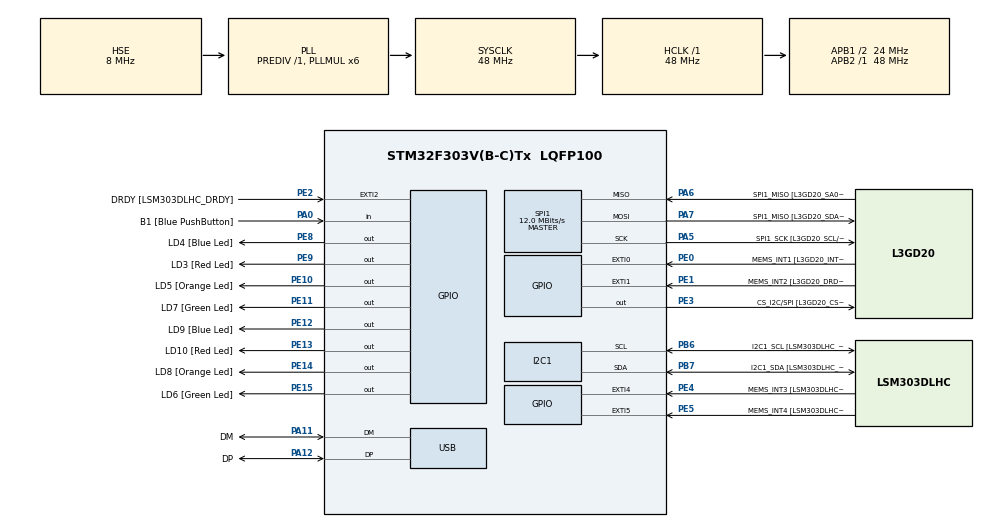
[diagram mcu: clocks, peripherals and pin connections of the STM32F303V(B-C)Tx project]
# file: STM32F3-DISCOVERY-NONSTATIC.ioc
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Mcu.Family=STM32F3
PA6.Mode=Full_Duplex_Master
RCC.CortexFreq_Value=48000000
SPI1.VirtualType=VM_MASTER
PE11.GPIO_Label=LD7 [Green Led]
PA14.GPIO_Label=SWCLK
RCC.SYSCLKSourceVirtual=RCC_SYSCLKSOURCE_PLLCLK
PA0.GPIO_Label=B1 [Blue PushButton]
PA11.Mode=Device
PA6.GPIO_Label=SPI1_MISO [L3GD20_SA0/SDO]
PB6.GPIO_Label=I2C1_SCL [LSM303DLHC_SCL]
PC15-OSC32_OUT.GPIO_Label=OSC32_OUT
ProjectManager.StackSize=0x400
SPI1.Mode-Full_Duplex_Master=SPI_MODE_MASTER
PA12.Signal=USB_DP
SPI1.Direction=SPI_DIRECTION_2LINES
RCC.HCLKFreq_Value=48000000
RCC.APB2TimFreq_Value=48000000
PB6.Signal=I2C1_SCL
PB6.Mode=I2C
SPI1.CalculateBaudRate=12.0 MBits/s
PE5.Signal=GPXTI5
PE1.Signal=GPXTI1
RCC.AHBFreq_Value=48000000
RCC.HSE_VALUE=8000000
PF0-OSC_IN.GPIO_Label=OSC_IN
RCC.PLLMUL=RCC_PLL_MUL6
PE13.Signal=GPIO_Output
PE9.Signal=GPIO_Output
PA14.Mode=Serial_Wire
FREERTOS.HEAP_NUMBER=1
PE4.GPIO_Label=MEMS_INT3 [LSM303DLHC_INT1]
PE2.Signal=GPXTI2
PB7.Signal=I2C1_SDA
VP_FREERTOS_VS_CMSIS_V1.Mode=CMSIS_V1
PE10.Signal=GPIO_Output
PE4.Signal=GPXTI4
SPI1.CalculateBaudRate-Full_Duplex_Master=24.0 MBits/s
PA0.Signal=GPIO_Input
PB7.GPIO_Label=I2C1_SDA [LSM303DLHC_SDA]
Mcu.Package=LQFP100
PA6.Signal=SPI1_MISO
PE12.GPIO_Label=LD9 [Blue Led]
PE0.GPIO_Label=MEMS_INT1 [L3GD20_INT1]
RCC.APB1TimFreq_Value=48000000
PC14-OSC32_IN.GPIO_Label=OSC32_IN
PE10.GPIO_Label=LD5 [Orange Led]
SPI1.BaudRatePrescaler=SPI_BAUDRATEPRESCALER_4
PE2.GPIO_Label=DRDY [LSM303DLHC_DRDY]
PF1-OSC_OUT.Signal=RCC_OSC_OUT
PA5.Mode=Full_Duplex_Master
PB3.GPIO_Label=SWO
FREERTOS.Tasks01=defaultTask,0,128,StartDefaultTask,Default,NULL,Dynamic,NULL,NULL;myTask02,-2,128,StartTask02,Default,NULL,Dynamic,NULL,NULL;myTask03,0,128,StartTask03,Default,NULL,Dynamic,NULL,NULL
PA7.Mode=Full_Duplex_Master
PE4.GPIO_ModeDefaultEXTI=GPIO_MODE_EVT_RISING
PA11.GPIO_Label=DM
PE14.GPIO_Label=LD8 [Orange Led]
PE1.GPIO_ModeDefaultEXTI=GPIO_MODE_EVT_RISING
RCC.APB1CLKDivider=RCC_HCLK_DIV2
PC14-OSC32_IN.Signal=RCC_OSC32_IN
PA12.GPIO_Label=DP
PA13.Signal=SYS_JTMS-SWDIO
PE15.GPIO_Label=LD6 [Green Led]
ProjectManager.TargetToolchain=EWARM V8
PE5.GPIO_ModeDefaultEXTI=GPIO_MODE_EVT_RISING
PE0.GPIO_ModeDefaultEXTI=GPIO_MODE_EVT_RISING
PE8.GPIO_Label=LD4 [Blue Led]
RCC.USBFreq_Value=48000000
PE11.Signal=GPIO_Output
RCC.LSE_VALUE=32768
PC15-OSC32_OUT.Signal=RCC_OSC32_OUT
PE9.GPIO_Label=LD3 [Red Led]
PF0-OSC_IN.Mode=HSE-External-Clock-Source
PA5.Signal=SPI1_SCK
board=STM32F3DISCOVERY
PE1.GPIO_Label=MEMS_INT2 [L3GD20_DRDY/INT2]
RCC.APB2Freq_Value=48000000
PE14.Signal=GPIO_Output
PE15.Signal=GPIO_Output
PE8.Signal=GPIO_Output
SPI1.Mode=SPI_MODE_MASTER
PF1-OSC_OUT.GPIO_Label=OSC_OUT
I2C1.Timing-I2C=0x2000090E
PA13.Mode=Serial_Wire
Mcu.Name=STM32F303V(B-C)Tx
PE0.Signal=GPXTI0
PE12.Signal=GPIO_Output
PA13.GPIO_Label=SWDIO
PB3.Signal=SYS_JTDO-TRACESWO
RCC.SYSCLKFreq_VALUE=48000000
PA7.GPIO_Label=SPI1_MISO [L3GD20_SDA/SDI/SDO]
PE13.GPIO_Label=LD10 [Red Led]
PA12.Mode=Device
PA5.GPIO_Label=SPI1_SCK [L3GD20_SCL/SPC]
PE5.GPIO_Label=MEMS_INT4 [LSM303DLHC_INT2]
PB7.Mode=I2C
PA11.Signal=USB_DM
PA14.Signal=SYS_JTCK-SWCLK
ProjectManager.HeapSize=0x200
RCC.HSI_VALUE=8000000
NVIC.PriorityGroup=NVIC_PRIORITYGROUP_4
PE3.Signal=GPIO_Output
PE3.GPIO_Label=CS_I2C/SPI [L3GD20_CS_I2C/SPI]
PE2.GPIO_ModeDefaultEXTI=GPIO_MODE_EVT_RISING
PF0-OSC_IN.Signal=RCC_OSC_IN
RCC.APB1Freq_Value=24000000
SPI1.BaudRatePrescaler-Full_Duplex_Master=SPI_BAUDRATEPRESCALER_2
PA7.Signal=SPI1_MOSI

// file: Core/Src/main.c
/* USER CODE BEGIN Header */
/**
  ******************************************************************************
  * @file           : main.c
  * @brief          : Main program body
  ******************************************************************************
  * @attention
  *
  * <h2><center>&copy; Copyright (c) 2020 STMicroelectronics.
  * All rights reserved.</center></h2>
  *
  * This software component is licensed by ST under Ultimate Liberty license
  * SLA0044, the "License"; You may not use this file except in compliance with
  * the License. You may obtain a copy of the License at:
  *                             www.st.com/SLA0044
  *
  ******************************************************************************
  */
/* USER CODE END Header */
#include "main.h"
#include "cmsis_os.h"

I2C_HandleTypeDef hi2c1;

SPI_HandleTypeDef hspi1;

PCD_HandleTypeDef hpcd_USB_FS;

osThreadId defaultTaskHandle;
osThreadId myTask02Handle;
osThreadId myTask03Handle;

void SystemClock_Config(void);
static void MX_GPIO_Init(void);
static void MX_I2C1_Init(void);
static void MX_SPI1_Init(void);
static void MX_USB_PCD_Init(void);
void StartDefaultTask(void const * argument);
void StartTask02(void const * argument);
void StartTask03(void const * argument);

enum  LED{
     UESER_LED3_ON = 0,
     UESER_LED5_ON,
     UESER_LED7_ON,
     UESER_LED9_ON,
     UESER_LED10_ON,
     UESER_LED8_ON,
     UESER_LED6_ON,
     UESER_LED4_ON,
     USER_MAX_LED_ON_COUNT
    };

static void vOffAllLed(void)
{
      HAL_GPIO_WritePin(GPIOE, GPIO_PIN_9,  GPIO_PIN_RESET);

      HAL_GPIO_WritePin(GPIOE, GPIO_PIN_5,  GPIO_PIN_RESET);

      HAL_GPIO_WritePin(GPIOE, GPIO_PIN_10,  GPIO_PIN_RESET);

      HAL_GPIO_WritePin(GPIOE, GPIO_PIN_15,  GPIO_PIN_RESET);

      HAL_GPIO_WritePin(GPIOE, GPIO_PIN_11,  GPIO_PIN_RESET);

      HAL_GPIO_WritePin(GPIOE, GPIO_PIN_14,  GPIO_PIN_RESET);

      HAL_GPIO_WritePin(GPIOE, GPIO_PIN_12,  GPIO_PIN_RESET);

      HAL_GPIO_WritePin(GPIOE, GPIO_PIN_13,  GPIO_PIN_RESET);

}

int main(void)
{

  /* MCU Configuration--------------------------------------------------------*/

  /* Reset of all peripherals, Initializes the Flash interface and the Systick. */
  HAL_Init();

  /* Configure the system clock */
  SystemClock_Config();

  /* Initialize all configured peripherals */
  MX_GPIO_Init();
  MX_I2C1_Init();
  MX_SPI1_Init();
  MX_USB_PCD_Init();

  static unsigned short usTestValue[100] = {100,1000};

  /* Create the thread(s) */
  /* definition and creation of defaultTask */
  osThreadDef(defaultTask, StartDefaultTask, osPriorityNormal, 0, 128);
  defaultTaskHandle = osThreadCreate(osThread(defaultTask), NULL);

  /* definition and creation of myTask02 */
  osThreadDef(myTask02, StartTask02, osPriorityLow, 0, 128);
  myTask02Handle = osThreadCreate(osThread(myTask02), NULL);

  /* definition and creation of myTask03 */
  osThreadDef(myTask03, StartTask03, osPriorityNormal, 0, 128);
  myTask03Handle = osThreadCreate(osThread(myTask03), NULL);

  /* Start scheduler */

  /* We should never get here as control is now taken by the scheduler */
  /* Infinite loop */
  /* USER CODE BEGIN WHILE */

  while (1)
  {
    usTestValue[1]++;

    osKernelStart();
    /* USER CODE END WHILE */

  }
}

void SystemClock_Config(void)
{
  RCC_OscInitTypeDef RCC_OscInitStruct = {0};
  RCC_ClkInitTypeDef RCC_ClkInitStruct = {0};
  RCC_PeriphCLKInitTypeDef PeriphClkInit = {0};

  /** Initializes the RCC Oscillators according to the specified parameters
  * in the RCC_OscInitTypeDef structure.
  */
  RCC_OscInitStruct.OscillatorType = RCC_OSCILLATORTYPE_HSI|RCC_OSCILLATORTYPE_HSE;
  RCC_OscInitStruct.HSEState = RCC_HSE_BYPASS;
  RCC_OscInitStruct.HSEPredivValue = RCC_HSE_PREDIV_DIV1;
  RCC_OscInitStruct.HSIState = RCC_HSI_ON;
  RCC_OscInitStruct.HSICalibrationValue = RCC_HSICALIBRATION_DEFAULT;
  RCC_OscInitStruct.PLL.PLLState = RCC_PLL_ON;
  RCC_OscInitStruct.PLL.PLLSource = RCC_PLLSOURCE_HSE;
  RCC_OscInitStruct.PLL.PLLMUL = RCC_PLL_MUL6;
  if (HAL_RCC_OscConfig(&RCC_OscInitStruct) != HAL_OK)
  {
    Error_Handler();
  }
  /** Initializes the CPU, AHB and APB buses clocks
  */
  RCC_ClkInitStruct.ClockType = RCC_CLOCKTYPE_HCLK|RCC_CLOCKTYPE_SYSCLK
                              |RCC_CLOCKTYPE_PCLK1|RCC_CLOCKTYPE_PCLK2;
  RCC_ClkInitStruct.SYSCLKSource = RCC_SYSCLKSOURCE_PLLCLK;
  RCC_ClkInitStruct.AHBCLKDivider = RCC_SYSCLK_DIV1;
  RCC_ClkInitStruct.APB1CLKDivider = RCC_HCLK_DIV2;
  RCC_ClkInitStruct.APB2CLKDivider = RCC_HCLK_DIV1;

  if (HAL_RCC_ClockConfig(&RCC_ClkInitStruct, FLASH_LATENCY_1) != HAL_OK)
  {
    Error_Handler();
  }
  PeriphClkInit.PeriphClockSelection = RCC_PERIPHCLK_USB|RCC_PERIPHCLK_I2C1;
  PeriphClkInit.I2c1ClockSelection = RCC_I2C1CLKSOURCE_HSI;
  PeriphClkInit.USBClockSelection = RCC_USBCLKSOURCE_PLL;
  if (HAL_RCCEx_PeriphCLKConfig(&PeriphClkInit) != HAL_OK)
  {
    Error_Handler();
  }
}

static void MX_I2C1_Init(void)
{

  hi2c1.Instance = I2C1;
  hi2c1.Init.Timing = 0x2000090E;
  hi2c1.Init.OwnAddress1 = 0;
  hi2c1.Init.AddressingMode = I2C_ADDRESSINGMODE_7BIT;
  hi2c1.Init.DualAddressMode = I2C_DUALADDRESS_DISABLE;
  hi2c1.Init.OwnAddress2 = 0;
  hi2c1.Init.OwnAddress2Masks = I2C_OA2_NOMASK;
  hi2c1.Init.GeneralCallMode = I2C_GENERALCALL_DISABLE;
  hi2c1.Init.NoStretchMode = I2C_NOSTRETCH_DISABLE;
  if (HAL_I2C_Init(&hi2c1) != HAL_OK)
  {
    Error_Handler();
  }
  /** Configure Analogue filter
  */
  if (HAL_I2CEx_ConfigAnalogFilter(&hi2c1, I2C_ANALOGFILTER_ENABLE) != HAL_OK)
  {
    Error_Handler();
  }
  /** Configure Digital filter
  */
  if (HAL_I2CEx_ConfigDigitalFilter(&hi2c1, 0) != HAL_OK)
  {
    Error_Handler();
  }

}

static void MX_SPI1_Init(void)
{

  /* SPI1 parameter configuration*/
  hspi1.Instance = SPI1;
  hspi1.Init.Mode = SPI_MODE_MASTER;
  hspi1.Init.Direction = SPI_DIRECTION_2LINES;
  hspi1.Init.DataSize = SPI_DATASIZE_4BIT;
  hspi1.Init.CLKPolarity = SPI_POLARITY_LOW;
  hspi1.Init.CLKPhase = SPI_PHASE_1EDGE;
  hspi1.Init.NSS = SPI_NSS_SOFT;
  hspi1.Init.BaudRatePrescaler = SPI_BAUDRATEPRESCALER_4;
  hspi1.Init.FirstBit = SPI_FIRSTBIT_MSB;
  hspi1.Init.TIMode = SPI_TIMODE_DISABLE;
  hspi1.Init.CRCCalculation = SPI_CRCCALCULATION_DISABLE;
  hspi1.Init.CRCPolynomial = 7;
  hspi1.Init.CRCLength = SPI_CRC_LENGTH_DATASIZE;
  hspi1.Init.NSSPMode = SPI_NSS_PULSE_ENABLE;
  if (HAL_SPI_Init(&hspi1) != HAL_OK)
  {
    Error_Handler();
  }

}

static void MX_USB_PCD_Init(void)
{

  hpcd_USB_FS.Instance = USB;
  hpcd_USB_FS.Init.dev_endpoints = 8;
  hpcd_USB_FS.Init.speed = PCD_SPEED_FULL;
  hpcd_USB_FS.Init.phy_itface = PCD_PHY_EMBEDDED;
  hpcd_USB_FS.Init.low_power_enable = DISABLE;
  hpcd_USB_FS.Init.battery_charging_enable = DISABLE;
  if (HAL_PCD_Init(&hpcd_USB_FS) != HAL_OK)
  {
    Error_Handler();
  }

}

static void MX_GPIO_Init(void)
{
  GPIO_InitTypeDef GPIO_InitStruct = {0};

  /* GPIO Ports Clock Enable */
  __HAL_RCC_GPIOE_CLK_ENABLE();
  __HAL_RCC_GPIOC_CLK_ENABLE();
  __HAL_RCC_GPIOF_CLK_ENABLE();
  __HAL_RCC_GPIOA_CLK_ENABLE();
  __HAL_RCC_GPIOB_CLK_ENABLE();

  /*Configure GPIO pin Output Level */
  HAL_GPIO_WritePin(GPIOE, CS_I2C_SPI_Pin|LD4_Pin|LD3_Pin|LD5_Pin
                          |LD7_Pin|LD9_Pin|LD10_Pin|LD8_Pin
                          |LD6_Pin, GPIO_PIN_RESET);

  /*Configure GPIO pins : DRDY_Pin MEMS_INT3_Pin MEMS_INT4_Pin MEMS_INT1_Pin
                           MEMS_INT2_Pin */
  GPIO_InitStruct.Pin = DRDY_Pin|MEMS_INT3_Pin|MEMS_INT4_Pin|MEMS_INT1_Pin
                          |MEMS_INT2_Pin;
  GPIO_InitStruct.Mode = GPIO_MODE_EVT_RISING;
  GPIO_InitStruct.Pull = GPIO_NOPULL;
  HAL_GPIO_Init(GPIOE, &GPIO_InitStruct);

  /*Configure GPIO pins : CS_I2C_SPI_Pin LD4_Pin LD3_Pin LD5_Pin
                           LD7_Pin LD9_Pin LD10_Pin LD8_Pin
                           LD6_Pin */
  GPIO_InitStruct.Pin = CS_I2C_SPI_Pin|LD4_Pin|LD3_Pin|LD5_Pin
                          |LD7_Pin|LD9_Pin|LD10_Pin|LD8_Pin
                          |LD6_Pin;
  GPIO_InitStruct.Mode = GPIO_MODE_OUTPUT_PP;
  GPIO_InitStruct.Pull = GPIO_NOPULL;
  GPIO_InitStruct.Speed = GPIO_SPEED_FREQ_LOW;
  HAL_GPIO_Init(GPIOE, &GPIO_InitStruct);

  /*Configure GPIO pin : B1_Pin */
  GPIO_InitStruct.Pin = B1_Pin;
  GPIO_InitStruct.Mode = GPIO_MODE_INPUT;
  GPIO_InitStruct.Pull = GPIO_NOPULL;
  HAL_GPIO_Init(B1_GPIO_Port, &GPIO_InitStruct);

}

void StartDefaultTask(void const * argument)
{
  /* USER CODE BEGIN 5 */
  /* Infinite loop */
  for(;;)
  {
    osDelay(5000);
  //  HAL_GPIO_TogglePin(GPIOE, GPIO_PIN_8);
  }
  /* USER CODE END 5 */
}

void StartTask02(void const * argument)
{
  /* USER CODE BEGIN StartTask02 */
  /* Infinite loop */
  for(;;)
  {
    static enum LED ledDisPlay = UESER_LED3_ON;

    osDelay(1000);

    switch(ledDisPlay)
    {
    case UESER_LED3_ON:
      vOffAllLed();
      HAL_GPIO_WritePin(GPIOE, GPIO_PIN_9, GPIO_PIN_SET);
      break;

      case UESER_LED4_ON:
      vOffAllLed();
      HAL_GPIO_WritePin(GPIOE, GPIO_PIN_5,  GPIO_PIN_SET);
      break;

      case UESER_LED5_ON:
      vOffAllLed();
      HAL_GPIO_WritePin(GPIOE, GPIO_PIN_10,  GPIO_PIN_SET);
      break;

      case UESER_LED6_ON:
      vOffAllLed();
      HAL_GPIO_WritePin(GPIOE, GPIO_PIN_15,  GPIO_PIN_SET);
      break;

      case UESER_LED7_ON:
        vOffAllLed();
      HAL_GPIO_WritePin(GPIOE, GPIO_PIN_11,  GPIO_PIN_SET);
      break;

      case UESER_LED8_ON:
        vOffAllLed();
      HAL_GPIO_WritePin(GPIOE, GPIO_PIN_14,  GPIO_PIN_SET);
      break;

      case UESER_LED9_ON:
        vOffAllLed();
      HAL_GPIO_WritePin(GPIOE, GPIO_PIN_12,  GPIO_PIN_SET);
      break;

      case UESER_LED10_ON:
        vOffAllLed();
      HAL_GPIO_WritePin(GPIOE, GPIO_PIN_13,  GPIO_PIN_SET);
      break;

      default:
        vOffAllLed();
           break;
    }

    ledDisPlay++;

    if( ledDisPlay < USER_MAX_LED_ON_COUNT )
    {
      ;
    }
    else
    {
      ledDisPlay = UESER_LED3_ON;
    }

 //   HAL_GPIO_TogglePin(GPIOE, GPIO_PIN_9);
  }
  /* USER CODE END StartTask02 */
}

void StartTask03(void const * argument)
{
  /* USER CODE BEGIN StartTask03 */
  /* Infinite loop */
  for(;;)
  {
    osDelay(3000);
  //  HAL_GPIO_TogglePin(GPIOE, GPIO_PIN_10);
  }
  /* USER CODE END StartTask03 */
}

void Error_Handler(void)
{
}

/************************ (C) COPYRIGHT STMicroelectronics *****END OF FILE****/
